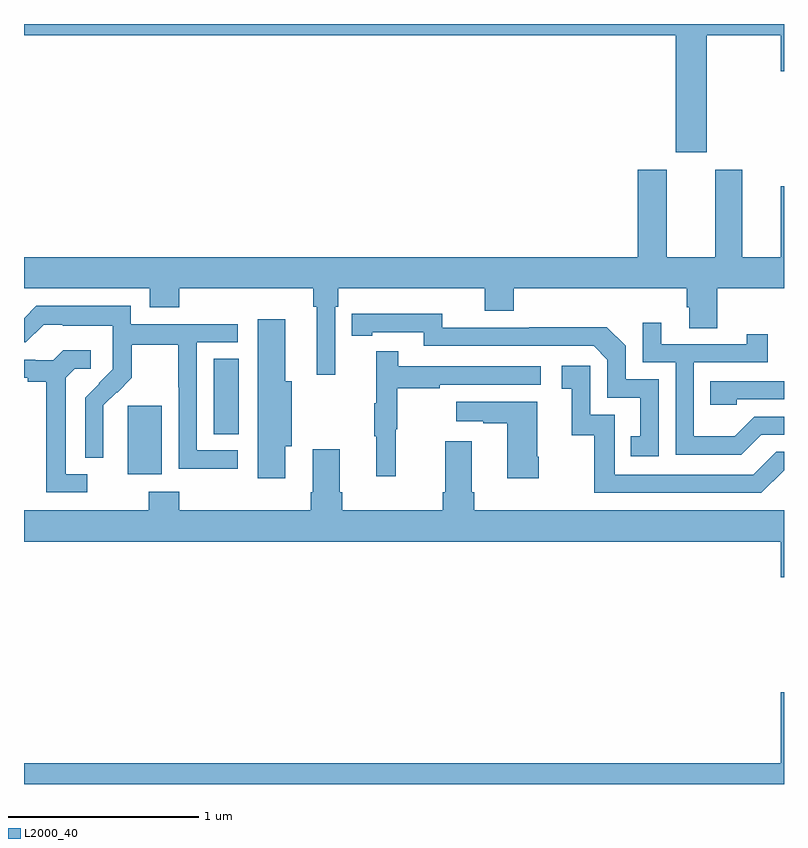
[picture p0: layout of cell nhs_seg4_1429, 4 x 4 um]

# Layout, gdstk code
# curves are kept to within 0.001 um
import gdstk
lib = gdstk.Library(unit=1e-6, precision=1e-09)
def R(c, l, rs):  # rectangles x0, y0, x1, y1
    for r in rs: c.add(gdstk.rectangle(r[:2], r[2:], *l))
def P(c, l, *ps):  # polygons
    for p in ps: c.add(gdstk.Polygon(p, *l))
L2000_40 = (2000, 40)

nhs_seg4_1429 = lib.new_cell('nhs_seg4_1429')
R(nhs_seg4_1429, L2000_40, [(185.546,774.53,185.725,774.891), (185.999,774.742,186.13,775.139)])
P(nhs_seg4_1429, L2000_40, [(188.593,776.84),(188.984,776.84),(188.984,776.652),(189,776.652),(189,776.9),(185,776.9),(185,776.84),(188.429,776.84),(188.429,776.226),(188.593,776.226)],
  [(186.639,775.412),(186.653,775.412),(186.653,775.508),(187.424,775.508),(187.424,775.391),(187.577,775.391),(187.577,775.508),(188.489,775.508),(188.489,775.41),(188.501,775.41),(188.501,775.3),(188.649,775.3),(188.649,775.508),(189,775.508),(189,776.047),(188.984,776.047),(188.984,775.672),(188.779,775.672),(188.779,776.134),(188.639,776.134),(188.639,775.672),(188.383,775.672),(188.383,776.134),(188.231,776.134),(188.231,775.672),(185,775.672),(185,775.508),(185.663,775.508),(185.663,775.409),(185.816,775.409),(185.816,775.508),(186.523,775.508),(186.523,775.412),(186.542,775.412),(186.542,775.053),(186.639,775.053)],
  [(186.124,774.657),(185.91,774.657),(185.91,775.224),(186.124,775.224),(186.124,775.32),(185.562,775.32),(185.562,775.417),(185.065,775.417),(185,775.352),(185,775.224),(185.01,775.224),(185.103,775.317),(185.203,775.317),(185.203,775.313),(185.466,775.313),(185.466,775.179),(185.468,775.179),(185.468,775.082),(185.322,774.934),(185.322,774.616),(185.418,774.616),(185.417,774.893),(185.487,774.963),(185.49,774.96),(185.567,775.037),(185.567,775.212),(185.812,775.212),(185.812,774.988),(185.814,774.988),(185.814,774.559),(186.124,774.559)],
  [(188.34,775.029),(188.166,775.029),(188.166,775.206),(188.068,775.304),(187.66,775.304),(187.66,775.302),(187.2,775.302),(187.2,775.375),(186.724,775.374),(186.724,775.258),(186.832,775.258),(186.832,775.278),(187.104,775.278),(187.104,775.206),(187.998,775.206),(188.07,775.134),(188.07,774.933),(188.243,774.933),(188.243,774.729),(188.194,774.729),(188.194,774.624),(188.34,774.624)],
  [(186.376,774.677),(186.409,774.677),(186.409,775.021),(186.376,775.021),(186.376,775.345),(186.23,775.345),(186.23,774.51),(186.376,774.51)],
  [(188.881,774.738),(189,774.738),(189,774.834),(188.844,774.834),(188.74,774.73),(188.526,774.73),(188.526,775.119),(188.915,775.119),(188.915,775.267),(188.804,775.267),(188.804,775.215),(188.353,775.215),(188.353,775.327),(188.256,775.327),(188.256,775.119),(188.43,775.119),(188.43,774.633),(188.776,774.633)],
  [(185.332,774.531),(185.221,774.531),(185.221,775.039),(185.268,775.086),(185.35,775.086),(185.35,775.183),(185.206,775.183),(185.154,775.131),(185.06,775.131),(185.06,775.134),(185,775.134),(185,775.038),(185.021,775.038),(185.021,775.016),(185.117,775.016),(185.117,774.435),(185.332,774.435)],
  [(186.956,774.768),(186.964,774.768),(186.964,774.982),(187.187,774.982),(187.187,775.002),(187.72,775.002),(187.72,775.098),(186.971,775.098),(186.971,775.177),(186.854,775.177),(186.854,774.905),(186.843,774.905),(186.843,774.731),(186.854,774.731),(186.854,774.519),(186.956,774.519)],
  [(189,774.552),(189,774.648),(188.958,774.648),(188.838,774.528),(188.109,774.528),(188.109,774.843),(187.98,774.843),(187.98,775.102),(187.83,775.102),(187.83,774.981),(187.883,774.981),(187.883,774.735),(188.001,774.735),(188.001,774.432),(188.88,774.432)],
  [(188.751,774.924),(189,774.924),(189,775.02),(188.611,775.02),(188.611,774.897),(188.751,774.897)],
  [(187.71,774.622),(187.702,774.622),(187.702,774.913),(187.275,774.913),(187.275,774.809),(187.418,774.809),(187.418,774.799),(187.544,774.799),(187.544,774.51),(187.71,774.51)],
  [(189,774.34),(187.37,774.34),(187.37,774.436),(187.357,774.436),(187.357,774.703),(187.217,774.703),(187.217,774.436),(187.205,774.436),(187.205,774.34),(186.674,774.34),(186.674,774.436),(186.661,774.436),(186.661,774.661),(186.521,774.661),(186.521,774.436),(186.509,774.436),(186.509,774.34),(185.816,774.34),(185.816,774.439),(185.656,774.439),(185.656,774.34),(185,774.34),(185,774.176),(188.984,774.176),(188.984,773.988),(189,773.988)],
  [(189,773.383),(188.984,773.383),(188.984,773.008),(185,773.008),(185,772.9),(189,772.9)])

lib.write_gds('nhs_seg4_1429.gds')
